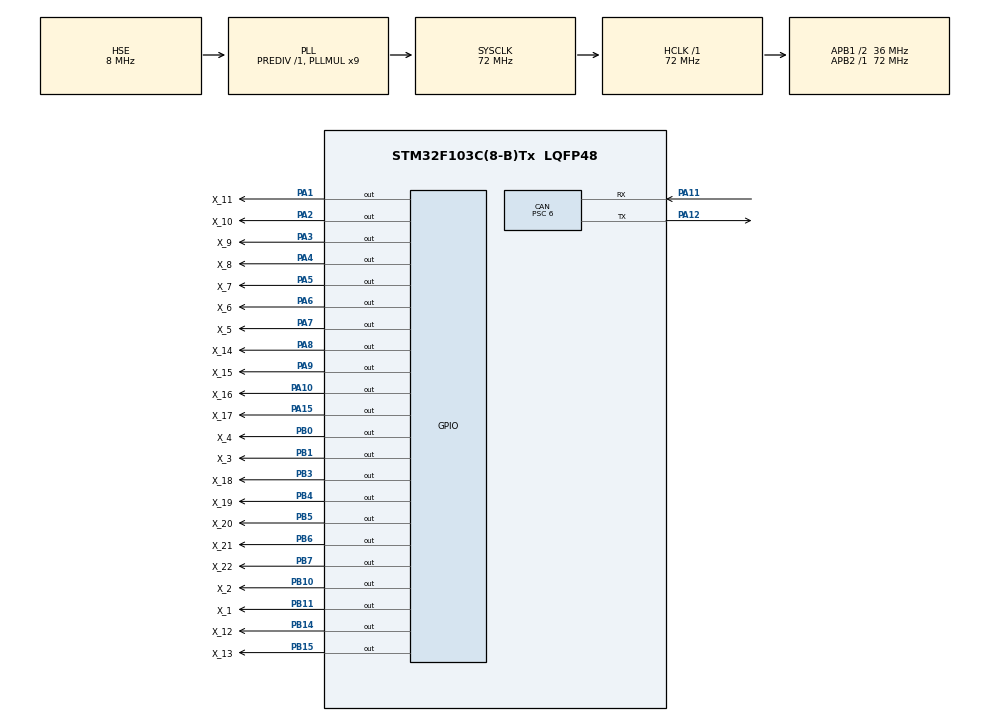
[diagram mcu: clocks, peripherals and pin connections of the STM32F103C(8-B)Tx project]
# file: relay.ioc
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CAN.BS1=CAN_BS1_4TQ
CAN.CalculateBaudRate=999999
CAN.CalculateTimeBit=1000
CAN.CalculateTimeQuantum=166.66666666666669
CAN.Prescaler=6
Mcu.Family=STM32F1
Mcu.Name=STM32F103C(8-B)Tx
Mcu.Package=LQFP48
NVIC.PriorityGroup=NVIC_PRIORITYGROUP_4
NVIC.USB_LP_CAN1_RX0_IRQn=true\:0\:0\:false\:false\:true\:true\:true\:true
PA1.GPIO_Label=X_11
PA1.GPIO_ModeDefaultOutputPP=GPIO_MODE_OUTPUT_PP
PA1.GPIO_PuPd=GPIO_PULLDOWN
PA1.GPIO_Speed=GPIO_SPEED_FREQ_LOW
PA1.PinState=GPIO_PIN_RESET
PA1.Signal=GPIO_Output
PA10.GPIO_Label=X_16
PA10.GPIO_ModeDefaultOutputPP=GPIO_MODE_OUTPUT_PP
PA10.GPIO_PuPd=GPIO_PULLDOWN
PA10.GPIO_Speed=GPIO_SPEED_FREQ_LOW
PA10.PinState=GPIO_PIN_RESET
PA10.Signal=GPIO_Output
PA11.Mode=CAN_Activate
PA11.Signal=CAN_RX
PA12.Mode=CAN_Activate
PA12.Signal=CAN_TX
PA13.Mode=Serial_Wire
PA13.Signal=SYS_JTMS-SWDIO
PA14.Mode=Serial_Wire
PA14.Signal=SYS_JTCK-SWCLK
PA15.GPIO_Label=X_17
PA15.GPIO_PuPd=GPIO_PULLDOWN
PA15.Signal=GPIO_Output
PA2.GPIO_Label=X_10
PA2.GPIO_ModeDefaultOutputPP=GPIO_MODE_OUTPUT_PP
PA2.GPIO_PuPd=GPIO_PULLDOWN
PA2.GPIO_Speed=GPIO_SPEED_FREQ_LOW
PA2.PinState=GPIO_PIN_RESET
PA2.Signal=GPIO_Output
PA3.GPIO_Label=X_9
PA3.GPIO_ModeDefaultOutputPP=GPIO_MODE_OUTPUT_PP
PA3.GPIO_PuPd=GPIO_PULLDOWN
PA3.GPIO_Speed=GPIO_SPEED_FREQ_LOW
PA3.PinState=GPIO_PIN_RESET
PA3.Signal=GPIO_Output
PA4.GPIO_Label=X_8
PA4.GPIO_ModeDefaultOutputPP=GPIO_MODE_OUTPUT_PP
PA4.GPIO_PuPd=GPIO_PULLDOWN
PA4.GPIO_Speed=GPIO_SPEED_FREQ_LOW
PA4.PinState=GPIO_PIN_RESET
PA4.Signal=GPIO_Output
PA5.GPIO_Label=X_7
PA5.GPIO_ModeDefaultOutputPP=GPIO_MODE_OUTPUT_PP
PA5.GPIO_PuPd=GPIO_PULLDOWN
PA5.GPIO_Speed=GPIO_SPEED_FREQ_LOW
PA5.PinState=GPIO_PIN_RESET
PA5.Signal=GPIO_Output
PA6.GPIO_Label=X_6
PA6.GPIO_ModeDefaultOutputPP=GPIO_MODE_OUTPUT_PP
PA6.GPIO_PuPd=GPIO_PULLDOWN
PA6.GPIO_Speed=GPIO_SPEED_FREQ_LOW
PA6.PinState=GPIO_PIN_RESET
PA6.Signal=GPIO_Output
PA7.GPIO_Label=X_5
PA7.GPIO_ModeDefaultOutputPP=GPIO_MODE_OUTPUT_PP
PA7.GPIO_PuPd=GPIO_PULLDOWN
PA7.GPIO_Speed=GPIO_SPEED_FREQ_LOW
PA7.PinState=GPIO_PIN_RESET
PA7.Signal=GPIO_Output
PA8.GPIO_Label=X_14
PA8.GPIO_ModeDefaultOutputPP=GPIO_MODE_OUTPUT_PP
PA8.GPIO_PuPd=GPIO_PULLDOWN
PA8.GPIO_Speed=GPIO_SPEED_FREQ_LOW
PA8.PinState=GPIO_PIN_RESET
PA8.Signal=GPIO_Output
PA9.GPIO_Label=X_15
PA9.GPIO_ModeDefaultOutputPP=GPIO_MODE_OUTPUT_PP
PA9.GPIO_PuPd=GPIO_PULLDOWN
PA9.GPIO_Speed=GPIO_SPEED_FREQ_LOW
PA9.PinState=GPIO_PIN_RESET
PA9.Signal=GPIO_Output
PB0.GPIO_Label=X_4
PB0.GPIO_ModeDefaultOutputPP=GPIO_MODE_OUTPUT_PP
PB0.GPIO_PuPd=GPIO_PULLDOWN
PB0.GPIO_Speed=GPIO_SPEED_FREQ_LOW
PB0.PinState=GPIO_PIN_RESET
PB0.Signal=GPIO_Output
PB1.GPIO_Label=X_3
PB1.GPIO_ModeDefaultOutputPP=GPIO_MODE_OUTPUT_PP
PB1.GPIO_PuPd=GPIO_PULLDOWN
PB1.GPIO_Speed=GPIO_SPEED_FREQ_LOW
PB1.PinState=GPIO_PIN_RESET
PB1.Signal=GPIO_Output
PB10.GPIO_Label=X_2
PB10.GPIO_ModeDefaultOutputPP=GPIO_MODE_OUTPUT_PP
PB10.GPIO_PuPd=GPIO_PULLDOWN
PB10.GPIO_Speed=GPIO_SPEED_FREQ_LOW
PB10.PinState=GPIO_PIN_RESET
PB10.Signal=GPIO_Output
PB11.GPIO_Label=X_1
PB11.GPIO_ModeDefaultOutputPP=GPIO_MODE_OUTPUT_PP
PB11.GPIO_PuPd=GPIO_PULLDOWN
PB11.GPIO_Speed=GPIO_SPEED_FREQ_LOW
PB11.PinState=GPIO_PIN_RESET
PB11.Signal=GPIO_Output
PB14.GPIO_Label=X_12
PB14.GPIO_ModeDefaultOutputPP=GPIO_MODE_OUTPUT_PP
PB14.GPIO_PuPd=GPIO_PULLDOWN
PB14.GPIO_Speed=GPIO_SPEED_FREQ_LOW
PB14.PinState=GPIO_PIN_RESET
PB14.Signal=GPIO_Output
PB15.GPIO_Label=X_13
PB15.GPIO_ModeDefaultOutputPP=GPIO_MODE_OUTPUT_PP
PB15.GPIO_PuPd=GPIO_PULLDOWN
PB15.GPIO_Speed=GPIO_SPEED_FREQ_LOW
PB15.PinState=GPIO_PIN_RESET
PB15.Signal=GPIO_Output
PB3.GPIO_Label=X_18
PB3.GPIO_ModeDefaultOutputPP=GPIO_MODE_OUTPUT_PP
PB3.GPIO_PuPd=GPIO_PULLDOWN
PB3.GPIO_Speed=GPIO_SPEED_FREQ_LOW
PB3.PinState=GPIO_PIN_RESET
PB3.Signal=GPIO_Output
PB4.GPIO_Label=X_19
PB4.GPIO_ModeDefaultOutputPP=GPIO_MODE_OUTPUT_PP
PB4.GPIO_PuPd=GPIO_PULLDOWN
PB4.GPIO_Speed=GPIO_SPEED_FREQ_LOW
PB4.PinState=GPIO_PIN_RESET
PB4.Signal=GPIO_Output
PB5.GPIO_Label=X_20
PB5.GPIO_ModeDefaultOutputPP=GPIO_MODE_OUTPUT_PP
PB5.GPIO_PuPd=GPIO_PULLDOWN
PB5.GPIO_Speed=GPIO_SPEED_FREQ_LOW
PB5.PinState=GPIO_PIN_RESET
PB5.Signal=GPIO_Output
PB6.GPIO_Label=X_21
PB6.GPIO_ModeDefaultOutputPP=GPIO_MODE_OUTPUT_PP
PB6.GPIO_PuPd=GPIO_PULLDOWN
PB6.GPIO_Speed=GPIO_SPEED_FREQ_LOW
PB6.PinState=GPIO_PIN_RESET
PB6.Signal=GPIO_Output
PB7.GPIO_Label=X_22
PB7.GPIO_ModeDefaultOutputPP=GPIO_MODE_OUTPUT_PP
PB7.GPIO_PuPd=GPIO_PULLDOWN
PB7.GPIO_Speed=GPIO_SPEED_FREQ_LOW
PB7.PinState=GPIO_PIN_RESET
PB7.Signal=GPIO_Output
PD0-OSC_IN.Mode=HSE-External-Oscillator
PD0-OSC_IN.Signal=RCC_OSC_IN
PD1-OSC_OUT.Mode=HSE-External-Oscillator
PD1-OSC_OUT.Signal=RCC_OSC_OUT
ProjectManager.HeapSize=0x2000
ProjectManager.StackSize=0x2000
ProjectManager.TargetToolchain=STM32CubeIDE
RCC.AHBFreq_Value=72000000
RCC.APB1CLKDivider=RCC_HCLK_DIV2
RCC.APB1Freq_Value=36000000
RCC.APB1TimFreq_Value=72000000
RCC.APB2Freq_Value=72000000
RCC.APB2TimFreq_Value=72000000
RCC.HCLKFreq_Value=72000000
RCC.PLLMUL=RCC_PLL_MUL9
RCC.PLLSourceVirtual=RCC_PLLSOURCE_HSE
RCC.SYSCLKFreq_VALUE=72000000
RCC.SYSCLKSource=RCC_SYSCLKSOURCE_PLLCLK
RCC.USBFreq_Value=72000000
board=custom

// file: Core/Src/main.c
/* USER CODE BEGIN Header */
/**
 ******************************************************************************
 * @file           : main.c
 * @brief          : Main program body
 ******************************************************************************
 * @attention
 *
 * Copyright (c) 2024 STMicroelectronics.
 * All rights reserved.
 *
 * This software is licensed under terms that can be found in the LICENSE file
 * in the root directory of this software component.
 * If no LICENSE file comes with this software, it is provided AS-IS.
 *
 ******************************************************************************
 */
/* USER CODE END Header */
#include "main.h"
#include "can.h"
#include "gpio.h"
#include "string.h"

/* USER CODE BEGIN PM */
uint32_t coder;
/* USER CODE END PM */

void SystemClock_Config(void);

/* USER CODE BEGIN 0 */
static void CANAddFilter(uint32_t rx_id)
{
    CAN_FilterTypeDef can_filter_conf;

    can_filter_conf.FilterMode           = CAN_FILTERMODE_IDLIST; // 使用id list模式,即只有将rxid添加到过滤器中才会接收到,其他报文会被过滤
    can_filter_conf.FilterScale          = CAN_FILTERSCALE_16BIT;,/ // 使用16位id模式,即只有低16位有�?
    can_filter_conf.FilterFIFOAssignment = CAN_RX_FIFO0;          // 奇数id的模块会被分配到FIFO0,偶数id的模块会被分配到FIFO1
    can_filter_conf.FilterIdLow          = rx_id << 5;            // 过滤器寄存器的低16�?,因为使用STDID,�?以只有低11位有�?,�?5位要�?0
    can_filter_conf.FilterBank           = 1;                     // 根据can_handle判断是CAN1还是CAN2,然后自增
    can_filter_conf.FilterActivation     = CAN_FILTER_ENABLE;     // 启用过滤�?

    HAL_CAN_ConfigFilter(&hcan, &can_filter_conf);
}
void HAL_CAN_RxFifo0MsgPendingCallback(CAN_HandleTypeDef *hcan)
{
    static CAN_RxHeaderTypeDef rxconf;
    uint8_t rx_buf[8];
    HAL_CAN_GetRxMessage(hcan, CAN_RX_FIFO0, &rxconf, rx_buf); // 从FIFO中获取数�?
    if (rx_buf[0] == 0x11 && rx_buf[1] == 0x88 && rx_buf[2] == 0x99) {
        if (rx_buf[7] == (uint8_t)(rx_buf[3] + rx_buf[4] + rx_buf[5] + rx_buf[6])) {
            memcpy((uint8_t *)&coder, &rx_buf[3], 4);
        }
    }
}
/* USER CODE END 0 */

int main(void)
{

  /* MCU Configuration--------------------------------------------------------*/

  /* Reset of all peripherals, Initializes the Flash interface and the Systick. */
  HAL_Init();

  /* Configure the system clock */
  SystemClock_Config();

  /* Initialize all configured peripherals */
  MX_GPIO_Init();
  MX_CAN_Init();
  /* USER CODE BEGIN 2 */
    HAL_CAN_Start(&hcan);
    HAL_CAN_ActivateNotification(&hcan, CAN_IT_RX_FIFO0_MSG_PENDING);

    CANAddFilter(0x121);
    coder = 0b0000000001100101101010;

    /* USER CODE BEGIN 2 */
    // uint8_t coder[3];
    // coder[0] = 0xff;
    // coder[1] = 0xff;
    // coder[2] = 0xff;
    // HAL_GPIO_WritePin(X_1_GPIO_Port, X_1_Pin,SET);
    // HAL_GPIO_WritePin(X_1_GPIO_Port, X_7_Pin, SET);
    // HAL_GPIO_WritePin(X_1_GPIO_Port, X_1_Pin, coder[0] & (0x01 << 0));
    // HAL_GPIO_WritePin(X_2_GPIO_Port, X_2_Pin, coder[0] & (0x01 << 1));
    // HAL_GPIO_WritePin(X_3_GPIO_Port, X_3_Pin, coder[0] & (0x01 << 2));
    // HAL_GPIO_WritePin(X_4_GPIO_Port, X_4_Pin, coder[0] & (0x01 << 3));
    // HAL_GPIO_WritePin(X_5_GPIO_Port, X_5_Pin, coder[0] & (0x01 << 4));
    // HAL_GPIO_WritePin(X_6_GPIO_Port, X_6_Pin, coder[0] & (0x01 << 5));
    // HAL_GPIO_WritePin(X_7_GPIO_Port, X_7_Pin, coder[0] & (0x01 << 6));
    // HAL_GPIO_WritePin(X_8_GPIO_Port, X_8_Pin, coder[0] & (0x01 << 7));
    // HAL_GPIO_WritePin(X_9_GPIO_Port, X_9_Pin, coder[1] & (0x01 << 0));
    // HAL_GPIO_WritePin(X_10_GPIO_Port, X_10_Pin, coder[1] & (0x01 << 1));
    // HAL_GPIO_WritePin(X_11_GPIO_Port, X_11_Pin, coder[1] & (0x01 << 2));
    // HAL_GPIO_WritePin(X_12_GPIO_Port, X_12_Pin, coder[1] & (0x01 << 3));
    // HAL_GPIO_WritePin(X_13_GPIO_Port, X_13_Pin, coder[1] & (0x01 << 4));
    // HAL_GPIO_WritePin(X_14_GPIO_Port, X_14_Pin, coder[1] & (0x01 << 5));
    // HAL_GPIO_WritePin(X_15_GPIO_Port, X_15_Pin, coder[1] & (0x01 << 6));
    // HAL_GPIO_WritePin(X_16_GPIO_Port, X_16_Pin, coder[1] & (0x01 << 7));
    // HAL_GPIO_WritePin(X_17_GPIO_Port, X_17_Pin, coder[2] & (0x01 << 0));
    // HAL_GPIO_WritePin(X_18_GPIO_Port, X_18_Pin, coder[2] & (0x01 << 1));
    // HAL_GPIO_WritePin(X_19_GPIO_Port, X_19_Pin, coder[2] & (0x01 << 2));
    // HAL_GPIO_WritePin(X_20_GPIO_Port, X_20_Pin, coder[2] & (0x01 << 3));
    // HAL_GPIO_WritePin(X_21_GPIO_Port, X_21_Pin, coder[2] & (0x01 << 4));
    // HAL_GPIO_WritePin(X_22_GPIO_Port, X_22_Pin, coder[2] & (0x01 << 5));
    // HAL_GPIO_WritePin(X_1_GPIO_Port, X_1_Pin,SET);
    // HAL_GPIO_WritePin(X_1_GPIO_Port, X_7_Pin, SET);

  /* USER CODE END 2 */

  /* Infinite loop */
    while (1) {

    /* USER CODE BEGIN 3 */
        HAL_GPIO_WritePin(X_1_GPIO_Port, X_1_Pin, coder & (0x00000001 << 0));
        HAL_GPIO_WritePin(X_2_GPIO_Port, X_2_Pin, coder & (0x00000001 << 1));
        HAL_GPIO_WritePin(X_3_GPIO_Port, X_3_Pin, coder & (0x00000001 << 2));
        HAL_GPIO_WritePin(X_4_GPIO_Port, X_4_Pin, coder & (0x00000001 << 3));
        HAL_GPIO_WritePin(X_5_GPIO_Port, X_5_Pin, coder & (0x00000001 << 4));
        HAL_GPIO_WritePin(X_6_GPIO_Port, X_6_Pin, coder & (0x00000001 << 5));
        HAL_GPIO_WritePin(X_7_GPIO_Port, X_7_Pin, coder & (0x00000001 << 6));
        HAL_GPIO_WritePin(X_8_GPIO_Port, X_8_Pin, coder & (0x00000001 << 7));

        HAL_GPIO_WritePin(X_9_GPIO_Port, X_9_Pin, (coder & (0x00000001 << 8)) && 1);
        HAL_GPIO_WritePin(X_10_GPIO_Port, X_10_Pin, (coder & (0x00000001 << 9)) && 1);
        HAL_GPIO_WritePin(X_11_GPIO_Port, X_11_Pin, (coder & (0x00000001 << 10)) && 1);
        HAL_GPIO_WritePin(X_12_GPIO_Port, X_12_Pin, (coder & (0x00000001 << 11)) && 1);
        HAL_GPIO_WritePin(X_13_GPIO_Port, X_13_Pin, (coder & (0x00000001 << 12)) && 1);
        HAL_GPIO_WritePin(X_14_GPIO_Port, X_14_Pin, (coder & (0x00000001 << 13)) && 1);
        HAL_GPIO_WritePin(X_15_GPIO_Port, X_15_Pin, (coder & (0x00000001 << 14)) && 1);
        HAL_GPIO_WritePin(X_16_GPIO_Port, X_16_Pin, (coder & (0x00000001 << 15)) && 1);
        HAL_GPIO_WritePin(X_17_GPIO_Port, X_17_Pin, (coder & (0x00000001 << 16)) && 1);
        HAL_GPIO_WritePin(X_18_GPIO_Port, X_18_Pin, (coder & (0x00000001 << 17)) && 1);
        HAL_GPIO_WritePin(X_19_GPIO_Port, X_19_Pin, (coder & (0x00000001 << 18)) && 1);
        HAL_GPIO_WritePin(X_20_GPIO_Port, X_20_Pin, (coder & (0x00000001 << 19)) && 1);
        HAL_GPIO_WritePin(X_21_GPIO_Port, X_21_Pin, (coder & (0x00000001 << 20)) && 1);
        HAL_GPIO_WritePin(X_22_GPIO_Port, X_22_Pin, (coder & (0x00000001 << 21)) && 1);
        // coder <<=1;
        // if(coder==0)    coder = 1;
        // HAL_Delay(500);
    }
  /* USER CODE END 3 */
}

void SystemClock_Config(void)
{
  RCC_OscInitTypeDef RCC_OscInitStruct = {0};
  RCC_ClkInitTypeDef RCC_ClkInitStruct = {0};

  /** Initializes the RCC Oscillators according to the specified parameters
  * in the RCC_OscInitTypeDef structure.
  */
  RCC_OscInitStruct.OscillatorType = RCC_OSCILLATORTYPE_HSE;
  RCC_OscInitStruct.HSEState = RCC_HSE_ON;
  RCC_OscInitStruct.HSEPredivValue = RCC_HSE_PREDIV_DIV1;
  RCC_OscInitStruct.HSIState = RCC_HSI_ON;
  RCC_OscInitStruct.PLL.PLLState = RCC_PLL_ON;
  RCC_OscInitStruct.PLL.PLLSource = RCC_PLLSOURCE_HSE;
  RCC_OscInitStruct.PLL.PLLMUL = RCC_PLL_MUL9;
  if (HAL_RCC_OscConfig(&RCC_OscInitStruct) != HAL_OK)
  {
    Error_Handler();
  }

  /** Initializes the CPU, AHB and APB buses clocks
  */
  RCC_ClkInitStruct.ClockType = RCC_CLOCKTYPE_HCLK|RCC_CLOCKTYPE_SYSCLK
                              |RCC_CLOCKTYPE_PCLK1|RCC_CLOCKTYPE_PCLK2;
  RCC_ClkInitStruct.SYSCLKSource = RCC_SYSCLKSOURCE_PLLCLK;
  RCC_ClkInitStruct.AHBCLKDivider = RCC_SYSCLK_DIV1;
  RCC_ClkInitStruct.APB1CLKDivider = RCC_HCLK_DIV2;
  RCC_ClkInitStruct.APB2CLKDivider = RCC_HCLK_DIV1;

  if (HAL_RCC_ClockConfig(&RCC_ClkInitStruct, FLASH_LATENCY_2) != HAL_OK)
  {
    Error_Handler();
  }
}

void Error_Handler(void)
{
    __disable_irq();
    while (1) {
    }
}
